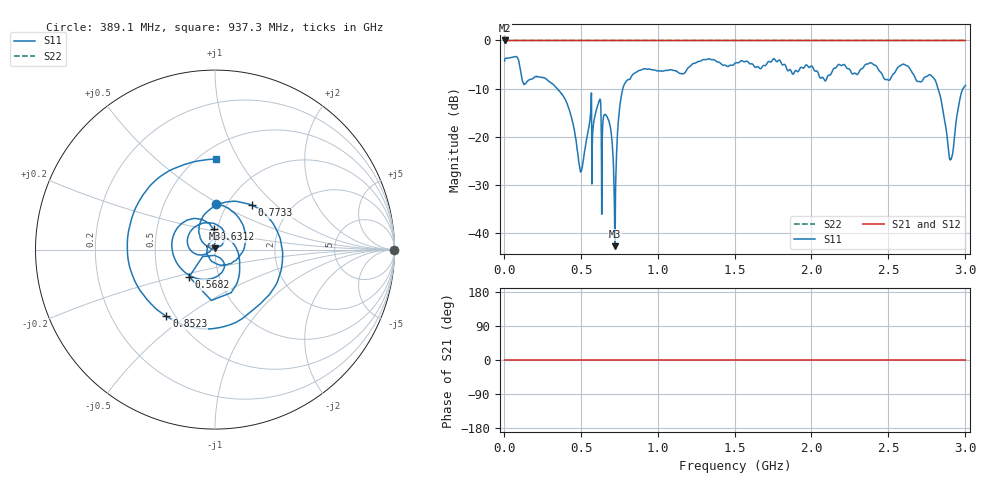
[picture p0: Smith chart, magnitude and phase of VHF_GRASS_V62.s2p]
!Keysight Technologies N9923A: A.08.09
!Date: Thursday, 02 August 2018 08:08:40
!Timezone: (GMT+08:00) Kuala Lumpur, Singapore
!Model: N9923A
!Serial: MY52412143
!GPS Latitude:
!GPS Longitude:
!GPS TimeStamp: 0001-01-01 00:00:00Z
!GPS Seconds Since Last Read: 0
!CHECKSUM:1509739294
!Correction: S11(ON U)S21()S12()S22()
!S2P File: Measurements:S11,S21,S12,S22:
# Hz S DB R 50
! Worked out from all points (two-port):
!   3000 points, 2 MHz to 3.002 GHz, reference 50 ohm
!   highest |S21| = 0.00 dB at 2 MHz (marker M1); lowest = 0.0 dB at 2 MHz (marker M2)
!   |S21| within 3 dB of the highest: start of sweep to end of sweep
!   lowest |S11| = -42.8 dB at 720.2 MHz (marker M3), VSWR 1.01, Z = 50 + j0.722 ohm
!   |S11| at or under -10 dB: 343.4 MHz to 772 MHz (428.6 MHz wide, 76.9 % of centre); 2.823 GHz to 2.987 GHz (163.6 MHz wide, 5.63 % of centre)
!   |S22| runs from 0.0 to 0.0 dB; largest |S21 - S12| = 0
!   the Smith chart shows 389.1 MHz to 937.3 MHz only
!   S11 on the Smith chart (normalised r, x): 389.1 MHz: 0.89, +0.49; 568.2 MHz: 0.72, -0.23; 631.2 MHz: 0.96, +0.22; 773.3 MHz: 1.30, +0.71; 852.3 MHz: 0.45, -0.42; 937.3 MHz: 0.60, +0.81
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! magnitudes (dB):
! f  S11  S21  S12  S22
! 2 MHz  -4.3  0.0  0.0  0.0
! 389.1 MHz  -11.8  0.0  0.0  0.0
! 502.2 MHz  -26.9  0.0  0.0  0.0
! 568.2 MHz  -13.6  0.0  0.0  0.0
! 613.2 MHz  -13.0  0.0  0.0  0.0
! 631.2 MHz  -18.9  0.0  0.0  0.0
! 683.2 MHz  -17.1  0.0  0.0  0.0
! 720.2 MHz  -42.8  0.0  0.0  0.0
! 748.2 MHz  -14.8  0.0  0.0  0.0
! 773.3 MHz  -9.9  0.0  0.0  0.0
! 852.3 MHz  -6.7  0.0  0.0  0.0
! 937.3 MHz  -5.9  0.0  0.0  0.0
! 1.002 GHz  -6.3  0.0  0.0  0.0
! 1.503 GHz  -4.7  0.0  0.0  0.0
! 2.003 GHz  -5.3  0.0  0.0  0.0
! 2.088 GHz  -8.4  0.0  0.0  0.0
! 2.386 GHz  -4.6  0.0  0.0  0.0
! 2.503 GHz  -8.3  0.0  0.0  0.0
! 2.598 GHz  -4.9  0.0  0.0  0.0
! 2.793 GHz  -7.7  0.0  0.0  0.0
! 2.907 GHz  -24.7  0.0  0.0  0.0
! 3.002 GHz  -9.4  0.0  0.0  0.0
